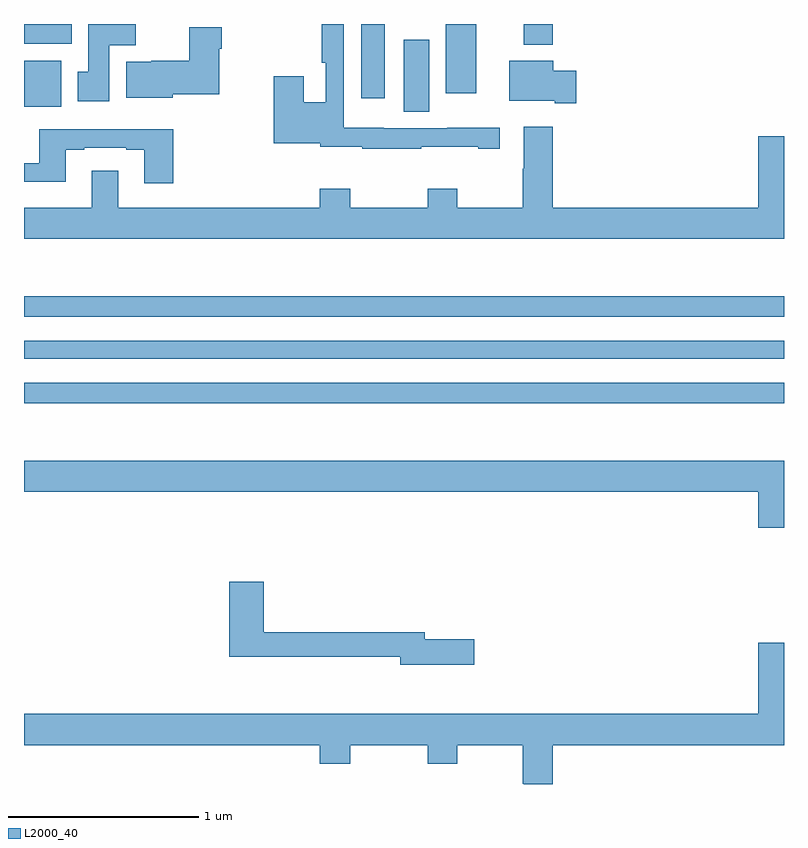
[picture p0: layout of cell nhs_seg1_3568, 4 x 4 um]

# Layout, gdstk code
import gdstk
lib = gdstk.Library(unit=1e-6, precision=1e-09)
def R(c, l, rs):  # rectangles x0, y0, x1, y1
    for r in rs: c.add(gdstk.rectangle(r[:2], r[2:], *l))
def P(c, l, *ps):  # polygons
    for p in ps: c.add(gdstk.Polygon(p, *l))
L2000_40 = (2000, 40)

nhs_seg1_3568 = lib.new_cell('nhs_seg1_3568')
R(nhs_seg1_3568, L2000_40, [(305,548.202,309,548.31), (305,548.436,309,548.532), (305,548.658,309,548.767), (306.998,549.736,307.132,550.117), (305,549.764,305.197,550.006), (306.776,549.807,306.898,550.199), (307.22,549.834,307.381,550.199), (307.631,550.091,307.784,550.199), (305,550.094,305.251,550.199)])
P(nhs_seg1_3568, L2000_40, [(305.449,550.088),(305.588,550.088),(305.588,550.199),(305.339,550.199),(305.339,549.948),(305.282,549.948),(305.282,549.792),(305.449,549.792)],
  [(307.091,549.553),(307.391,549.553),(307.391,549.543),(307.504,549.543),(307.504,549.653),(307.228,549.653),(307.228,549.651),(306.894,549.651),(306.894,549.652),(306.684,549.652),(306.684,550.199),(306.568,550.199),(306.568,549.995),(306.588,549.995),(306.588,549.787),(306.472,549.787),(306.472,549.925),(306.314,549.925),(306.314,549.572),(306.558,549.572),(306.558,549.553),(306.781,549.553),(306.781,549.543),(307.091,549.543)],
  [(305.784,549.83),(306.028,549.83),(306.028,550.07),(306.041,550.07),(306.041,550.183),(305.87,550.183),(305.87,550.006),(305.67,550.006),(305.67,550),(305.537,550),(305.537,549.812),(305.784,549.812)],
  [(307.906,549.952),(307.786,549.952),(307.786,550.006),(307.553,550.006),(307.553,549.794),(307.793,549.794),(307.793,549.782),(307.906,549.782)],
  [(309,549.607),(308.864,549.607),(308.864,549.232),(307.784,549.232),(307.784,549.658),(307.631,549.658),(307.631,549.437),(307.624,549.437),(307.624,549.232),(307.281,549.232),(307.281,549.331),(307.126,549.331),(307.126,549.232),(306.717,549.232),(306.717,549.331),(306.557,549.331),(306.557,549.232),(305.497,549.232),(305.497,549.427),(305.357,549.427),(305.357,549.232),(305,549.232),(305,549.068),(309,549.068)],
  [(305.786,549.646),(305.081,549.646),(305.081,549.465),(305,549.465),(305,549.368),(305.221,549.368),(305.221,549.537),(305.317,549.537),(305.317,549.549),(305.537,549.549),(305.537,549.537),(305.633,549.537),(305.633,549.36),(305.786,549.36)],
  [(309,547.9),(305,547.9),(305,547.736),(308.864,547.736),(308.864,547.548),(309,547.548)],
  [(307.369,546.962),(307.108,546.962),(307.108,546.998),(306.263,546.998),(306.263,547.264),(306.08,547.264),(306.08,546.87),(306.98,546.87),(306.98,546.827),(307.369,546.827)],
  [(307.784,546.404),(309,546.404),(309,546.943),(308.864,546.943),(308.864,546.568),(305,546.568),(305,546.404),(306.557,546.404),(306.557,546.305),(306.717,546.305),(306.717,546.404),(307.126,546.404),(307.126,546.305),(307.281,546.305),(307.281,546.404),(307.624,546.404),(307.624,546.2),(307.631,546.2),(307.631,546.199),(307.784,546.199)])

lib.write_gds('nhs_seg1_3568.gds')
